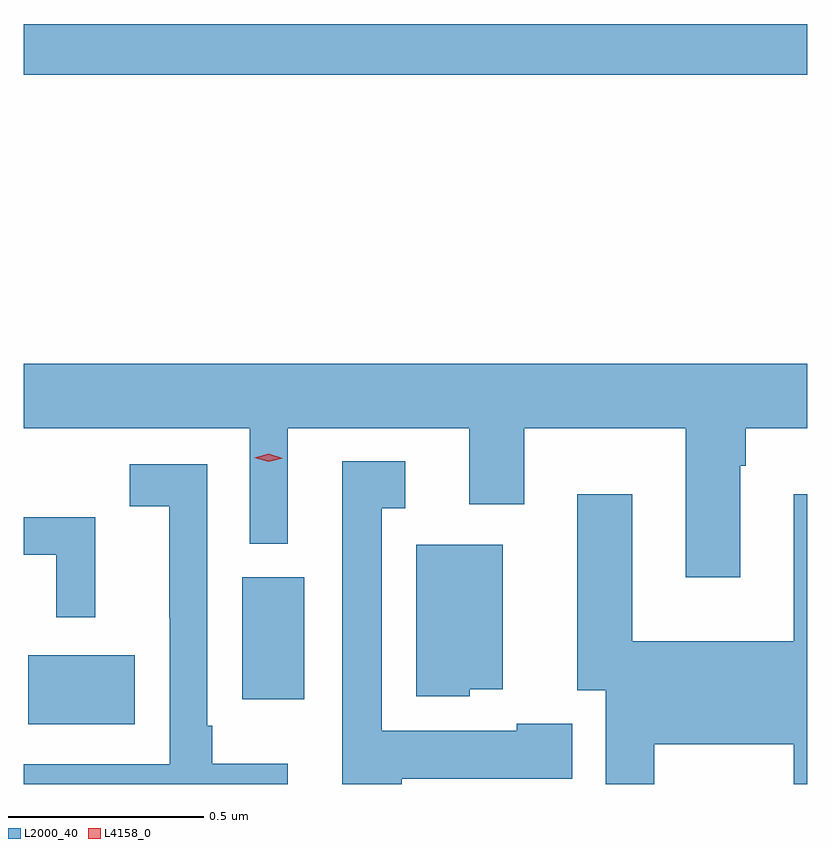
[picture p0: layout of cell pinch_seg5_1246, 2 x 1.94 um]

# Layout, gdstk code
import gdstk
lib = gdstk.Library(unit=1e-6, precision=1e-09)
def R(c, l, rs):  # rectangles x0, y0, x1, y1
    for r in rs: c.add(gdstk.rectangle(r[:2], r[2:], *l))
def P(c, l, *ps):  # polygons
    for p in ps: c.add(gdstk.Polygon(p, *l))
L2000_40 = (2000, 40)
L4158_0 = (4158, 0)

pinch_seg5_1246 = lib.new_cell('pinch_seg5_1246')
R(pinch_seg5_1246, L2000_40, [(569.492,881.312,569.764,881.488), (570.038,881.376,570.196,881.688), (569.48,882.97,571.48,883.099)])
P(pinch_seg5_1246, L2000_40, [(571.309,881.972),(571.322,881.972),(571.322,882.068),(571.48,882.068),(571.48,882.232),(569.48,882.232),(569.48,882.068),(570.057,882.068),(570.057,881.773),(570.154,881.773),(570.154,882.068),(570.617,882.068),(570.617,881.874),(570.757,881.874),(570.757,882.068),(571.169,882.068),(571.169,881.688),(571.309,881.688)],
  [(570.445,881.174),(570.88,881.174),(570.88,881.314),(570.738,881.314),(570.738,881.296),(570.394,881.296),(570.394,881.863),(570.454,881.863),(570.454,881.983),(570.293,881.983),(570.293,881.16),(570.445,881.16)],
  [(570.154,881.212),(569.962,881.212),(569.962,881.308),(569.949,881.308),(569.949,881.976),(569.751,881.976),(569.751,881.868),(569.852,881.868),(569.852,881.584),(569.853,881.584),(569.853,881.211),(569.48,881.211),(569.48,881.16),(570.154,881.16)],
  [(571.089,881.261),(571.445,881.261),(571.445,881.16),(571.48,881.16),(571.48,881.899),(571.445,881.899),(571.445,881.524),(571.033,881.524),(571.033,881.899),(570.893,881.899),(570.893,881.399),(570.965,881.399),(570.965,881.16),(571.089,881.16)],
  [(569.663,881.841),(569.48,881.841),(569.48,881.745),(569.563,881.745),(569.563,881.586),(569.663,881.586)],
  [(570.618,881.402),(570.703,881.402),(570.703,881.77),(570.482,881.77),(570.482,881.384),(570.618,881.384)])
P(pinch_seg5_1246, L4158_0, [(570.105,881.982),(570.069,881.992),(570.069,881.992),(570.069,881.993),(570.105,882.002),(570.141,881.991),(570.141,881.991),(570.141,881.991)])

lib.write_gds('pinch_seg5_1246.gds')
